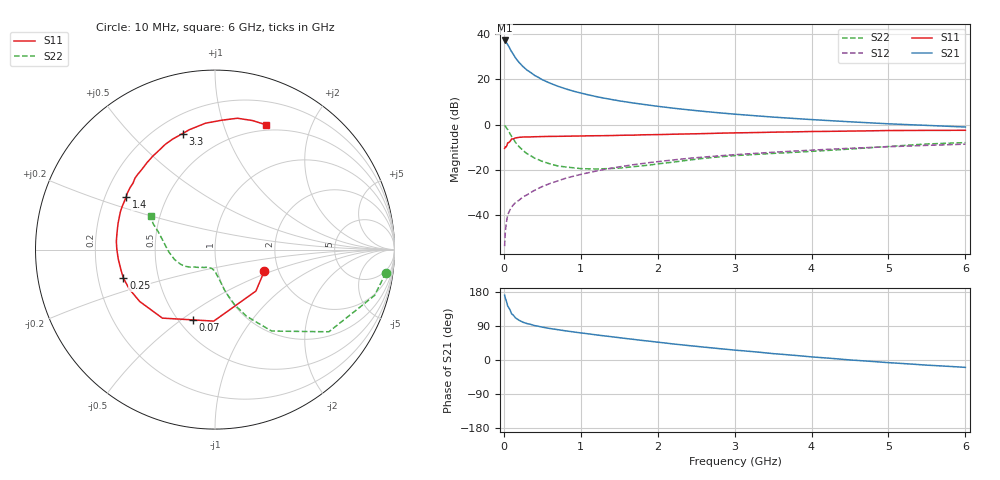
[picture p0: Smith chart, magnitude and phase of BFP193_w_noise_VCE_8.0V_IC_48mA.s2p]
! Infineon Technologies  Discrete & RF Semiconductors
! BFP193
! VCE =  8.0 V,  IC =  48 mA
! Common Emitter S-Parameters:  Jan 2017
# GHz  S  MA  R  50
!  f  S11  S21  S12  S22
! GHz  MAG  ANG  MAG  ANG  MAG  ANG  MAG  ANG
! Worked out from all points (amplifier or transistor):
!   77 points, 10 MHz to 6 GHz, reference 50 ohm
!   highest |S21| = 37.1 dB at 10 MHz (marker M1)
!   |S21| within 3 dB of that: start of sweep to 69.41 MHz
!   unconditionally stable (mu >= 1): 622.2 MHz to 2.376 GHz
!   at 130 MHz: K = 0.57, MSG = 32.9 dB, |S12| = -35.1 dB
!   at 2.2 GHz: K = 1.01, MAG = 10.8 dB, |S12| = -15.6 dB
!   at 6 GHz: K = 0.91, MSG = 3.8 dB, |S12| = -8.6 dB
!   lowest NFmin = 1.49 dB at 450 MHz
!   S11 on the Smith chart (normalised r, x): 10 MHz: 1.69, -0.44; 70 MHz: 0.59, -0.56; 250 MHz: 0.31, -0.14; 1.4 GHz: 0.29, +0.25; 3.3 GHz: 0.30, +0.71; 6 GHz: 0.44, +1.40
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0.01  0.2998 -23.1  71.68 170.9  0.0021 90.0  0.9607 -7.7
0.02  0.3245 -45.4  70.44 163.0  0.0045 86.3  0.9252 -16.0
0.05  0.3984 -91.0  58.21 142.6  0.0102 65.1  0.7825 -35.8
0.07  0.4101 -107.2  50.53 136.2  0.0122 62.1  0.6819 -42.0
0.1  0.4813 -127.5  40.75 122.3  0.0153 59.1  0.5525 -55.2
0.15  0.5095 -145.4  29.83 111.4  0.019 58.2  0.4092 -64.8
0.2  0.5257 -155.3  23.29 104.6  0.0218 59.6  0.3247 -70.5
0.25  0.5345 -162.6  18.99 99.6  0.0256 62.3  0.2694 -73.9
0.3  0.5358 -167.3  15.98 96.2  0.0283 62.7  0.2302 -76.8
0.4  0.5417 -174.5  12.18 90.8  0.0358 65.9  0.1831 -80.3
0.5  0.5469 179.8  9.792 86.7  0.0433 66.6  0.1551 -83.4
0.6  0.5515 175.3  8.213 83.1  0.0505 67.1  0.1365 -86.7
0.7  0.5529 171.6  7.05 80.1  0.0575 67.9  0.1233 -89.1
0.9  0.5596 164.6  5.498 74.2  0.0727 67.4  0.1122 -95.3
1.1  0.5676 158.3  4.531 69.0  0.0874 65.8  0.1062 -101.6
1.4  0.5752 149.5  3.587 61.4  0.1101 63.4  0.1081 -113.0
2.1  0.6087 130.5  2.422 44.8  0.1598 55.2  0.1427 -136.6
3.1  0.6625 109.3  1.653 24.5  0.2232 42.8  0.2124 -158.9
3.3  0.6714 105.6  1.557 20.9  0.2347 40.5  0.2221 -162.9
4.1  0.7084 92.8  1.265 6.7  0.2796 31.2  0.2638 -179.8
5.1  0.743 79.0  1.027 -8.2  0.3309 19.8  0.3392 161.5
6  0.7513 67.8  0.887 -19.5  0.3714 9.7  0.4024 152.6
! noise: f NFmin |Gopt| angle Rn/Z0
0.45  1.49  0.42  -171  0.08
0.9  1.54  0.44  -164  0.08
1.9  2.17  0.61  -132  0.22
2.4  2.5  0.64  -119  0.47
